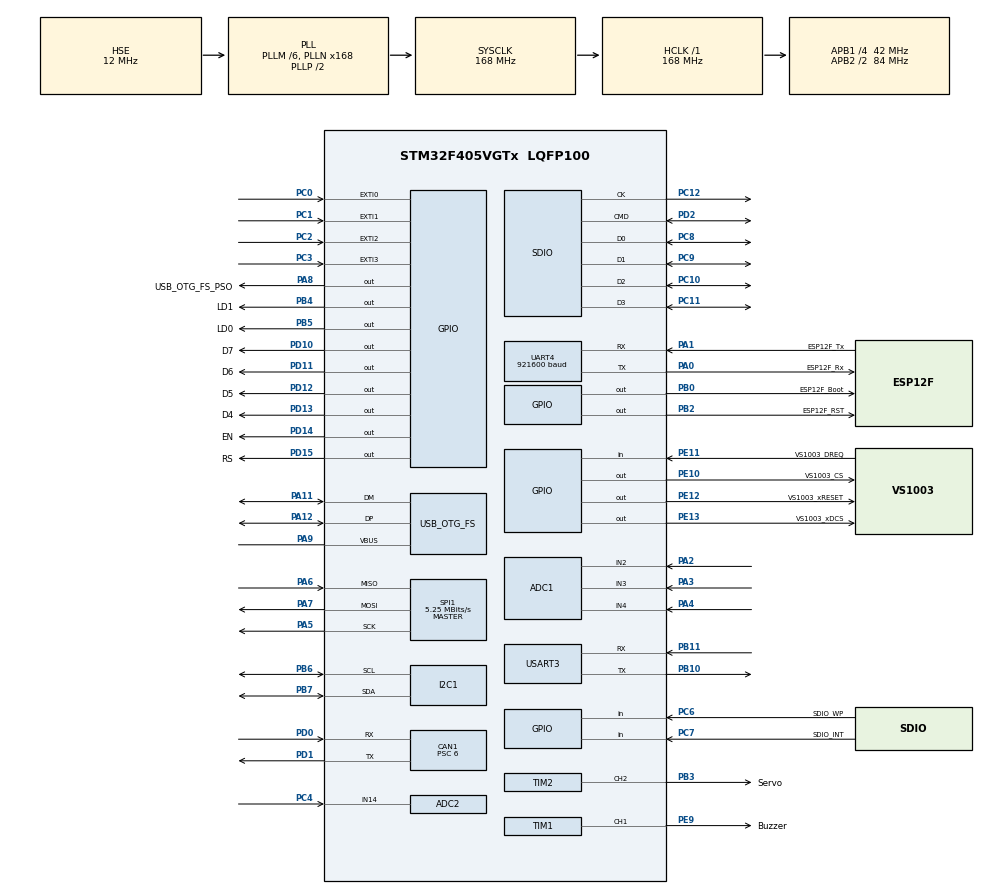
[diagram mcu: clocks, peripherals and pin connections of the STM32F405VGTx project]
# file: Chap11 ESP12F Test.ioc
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ADC1.Channel-0\#ChannelRegularConversion=ADC_CHANNEL_2
ADC1.Channel-1\#ChannelRegularConversion=ADC_CHANNEL_3
ADC1.Channel-2\#ChannelRegularConversion=ADC_CHANNEL_4
ADC1.ClockPrescaler=ADC_CLOCK_SYNC_PCLK_DIV4
ADC1.ContinuousConvMode=ENABLE
ADC1.DMAContinuousRequests=ENABLE
ADC1.DiscontinuousConvMode=DISABLE
ADC1.EnableAnalogWatchDog=false
ADC1.InjNumberOfConversion=0
ADC1.NbrOfConversion=3
ADC1.NbrOfConversionFlag=1
ADC1.Rank-0\#ChannelRegularConversion=1
ADC1.Rank-1\#ChannelRegularConversion=2
ADC1.Rank-2\#ChannelRegularConversion=3
ADC1.SamplingTime-0\#ChannelRegularConversion=ADC_SAMPLETIME_84CYCLES
ADC1.SamplingTime-1\#ChannelRegularConversion=ADC_SAMPLETIME_84CYCLES
ADC1.SamplingTime-2\#ChannelRegularConversion=ADC_SAMPLETIME_84CYCLES
ADC1.ScanConvMode=ENABLE
ADC1.master=1
ADC2.Channel-1\#ChannelRegularConversion=ADC_CHANNEL_14
ADC2.ClockPrescaler=ADC_CLOCK_SYNC_PCLK_DIV4
ADC2.ContinuousConvMode=ENABLE
ADC2.DMAContinuousRequests=ENABLE
ADC2.NbrOfConversionFlag=1
ADC2.Rank-1\#ChannelRegularConversion=1
ADC2.SamplingTime-1\#ChannelRegularConversion=ADC_SAMPLETIME_84CYCLES
ADC2.ScanConvMode=DISABLE
CAN1.BS1=CAN_BS1_11TQ
CAN1.BS2=CAN_BS2_2TQ
CAN1.CalculateBaudRate=500000
CAN1.CalculateTimeBit=2000
CAN1.CalculateTimeQuantum=142.85714285714286
CAN1.Prescaler=6
CAN1.SJW=CAN_SJW_1TQ
Dma.ADC1.0.Direction=DMA_PERIPH_TO_MEMORY
Dma.ADC1.0.FIFOMode=DMA_FIFOMODE_DISABLE
Dma.ADC1.0.Instance=DMA2_Stream0
Dma.ADC1.0.MemDataAlignment=DMA_MDATAALIGN_HALFWORD
Dma.ADC1.0.MemInc=DMA_MINC_ENABLE
Dma.ADC1.0.Mode=DMA_CIRCULAR
Dma.ADC1.0.PeriphDataAlignment=DMA_PDATAALIGN_HALFWORD
Dma.ADC1.0.PeriphInc=DMA_PINC_DISABLE
Dma.ADC1.0.Priority=DMA_PRIORITY_LOW
Dma.ADC2.1.Direction=DMA_PERIPH_TO_MEMORY
Dma.ADC2.1.FIFOMode=DMA_FIFOMODE_DISABLE
Dma.ADC2.1.Instance=DMA2_Stream2
Dma.ADC2.1.MemDataAlignment=DMA_MDATAALIGN_HALFWORD
Dma.ADC2.1.MemInc=DMA_MINC_DISABLE
Dma.ADC2.1.Mode=DMA_CIRCULAR
Dma.ADC2.1.PeriphDataAlignment=DMA_PDATAALIGN_HALFWORD
Dma.ADC2.1.PeriphInc=DMA_PINC_DISABLE
Dma.ADC2.1.Priority=DMA_PRIORITY_LOW
Dma.Request0=ADC1
Dma.Request1=ADC2
Dma.Request2=SDIO_RX
Dma.Request3=SDIO_TX
Dma.Request4=UART4_RX
Dma.Request5=UART4_TX
Dma.SDIO_RX.2.Direction=DMA_PERIPH_TO_MEMORY
Dma.SDIO_RX.2.FIFOMode=DMA_FIFOMODE_ENABLE
Dma.SDIO_RX.2.FIFOThreshold=DMA_FIFO_THRESHOLD_FULL
Dma.SDIO_RX.2.Instance=DMA2_Stream3
Dma.SDIO_RX.2.MemBurst=DMA_MBURST_INC4
Dma.SDIO_RX.2.MemDataAlignment=DMA_MDATAALIGN_WORD
Dma.SDIO_RX.2.MemInc=DMA_MINC_ENABLE
Dma.SDIO_RX.2.Mode=DMA_PFCTRL
Dma.SDIO_RX.2.PeriphBurst=DMA_PBURST_INC4
Dma.SDIO_RX.2.PeriphDataAlignment=DMA_PDATAALIGN_WORD
Dma.SDIO_RX.2.PeriphInc=DMA_PINC_DISABLE
Dma.SDIO_RX.2.Priority=DMA_PRIORITY_LOW
Dma.SDIO_TX.3.Direction=DMA_MEMORY_TO_PERIPH
Dma.SDIO_TX.3.FIFOMode=DMA_FIFOMODE_ENABLE
Dma.SDIO_TX.3.FIFOThreshold=DMA_FIFO_THRESHOLD_FULL
Dma.SDIO_TX.3.Instance=DMA2_Stream6
Dma.SDIO_TX.3.MemBurst=DMA_MBURST_INC4
Dma.SDIO_TX.3.MemDataAlignment=DMA_MDATAALIGN_WORD
Dma.SDIO_TX.3.MemInc=DMA_MINC_ENABLE
Dma.SDIO_TX.3.Mode=DMA_PFCTRL
Dma.SDIO_TX.3.PeriphBurst=DMA_PBURST_INC4
Dma.SDIO_TX.3.PeriphDataAlignment=DMA_PDATAALIGN_WORD
Dma.SDIO_TX.3.PeriphInc=DMA_PINC_DISABLE
Dma.SDIO_TX.3.Priority=DMA_PRIORITY_LOW
Dma.UART4_RX.4.Direction=DMA_PERIPH_TO_MEMORY
Dma.UART4_RX.4.FIFOMode=DMA_FIFOMODE_DISABLE
Dma.UART4_RX.4.Instance=DMA1_Stream2
Dma.UART4_RX.4.MemDataAlignment=DMA_MDATAALIGN_BYTE
Dma.UART4_RX.4.MemInc=DMA_MINC_ENABLE
Dma.UART4_RX.4.Mode=DMA_NORMAL
Dma.UART4_RX.4.PeriphDataAlignment=DMA_PDATAALIGN_BYTE
Dma.UART4_RX.4.PeriphInc=DMA_PINC_DISABLE
Dma.UART4_RX.4.Priority=DMA_PRIORITY_HIGH
Dma.UART4_TX.5.Direction=DMA_MEMORY_TO_PERIPH
Dma.UART4_TX.5.FIFOMode=DMA_FIFOMODE_DISABLE
Dma.UART4_TX.5.Instance=DMA1_Stream4
Dma.UART4_TX.5.MemDataAlignment=DMA_MDATAALIGN_BYTE
Dma.UART4_TX.5.MemInc=DMA_MINC_ENABLE
Dma.UART4_TX.5.Mode=DMA_NORMAL
Dma.UART4_TX.5.PeriphDataAlignment=DMA_PDATAALIGN_BYTE
Dma.UART4_TX.5.PeriphInc=DMA_PINC_DISABLE
Dma.UART4_TX.5.Priority=DMA_PRIORITY_LOW
FATFS.USE_DMA_CODE_SD=1
FATFS._MAX_SS=4096
FATFS._USE_LFN=1
I2C1.I2C_Mode=I2C_Fast
Mcu.Family=STM32F4
Mcu.Name=STM32F405VGTx
Mcu.Package=LQFP100
NVIC.CAN1_RX0_IRQn=true\:0\:0\:false\:true\:true\:8\:true\:true\:true
NVIC.DMA1_Stream2_IRQn=true\:0\:0\:false\:false\:true\:false\:true\:true
NVIC.DMA1_Stream4_IRQn=true\:0\:0\:false\:false\:true\:false\:true\:true
NVIC.DMA2_Stream0_IRQn=true\:0\:0\:false\:false\:true\:false\:true\:true
NVIC.DMA2_Stream2_IRQn=true\:0\:0\:false\:false\:true\:false\:true\:true
NVIC.DMA2_Stream3_IRQn=true\:0\:0\:false\:false\:true\:false\:true\:true
NVIC.DMA2_Stream6_IRQn=true\:0\:0\:false\:false\:true\:false\:true\:true
NVIC.EXTI0_IRQn=true\:0\:0\:false\:true\:true\:1\:true\:true\:true
NVIC.EXTI1_IRQn=true\:0\:0\:false\:true\:true\:2\:true\:true\:true
NVIC.EXTI2_IRQn=true\:0\:0\:false\:true\:true\:3\:true\:true\:true
NVIC.EXTI3_IRQn=true\:0\:0\:false\:true\:true\:7\:true\:true\:true
NVIC.OTG_FS_IRQn=true\:0\:0\:false\:false\:true\:false\:true\:true
NVIC.PriorityGroup=NVIC_PRIORITYGROUP_4
NVIC.SDIO_IRQn=true\:0\:0\:false\:false\:true\:true\:true\:true
NVIC.TIM6_DAC_IRQn=true\:0\:0\:false\:true\:true\:5\:true\:true\:true
NVIC.TIM7_IRQn=true\:0\:0\:false\:true\:true\:6\:true\:true\:true
NVIC.UART4_IRQn=true\:0\:0\:false\:false\:true\:true\:true\:true
NVIC.USART3_IRQn=true\:0\:0\:false\:true\:true\:4\:true\:true\:true
PA0-WKUP.GPIO_Label=ESP12F_Rx
PA0-WKUP.Mode=Asynchronous
PA0-WKUP.Signal=UART4_TX
PA1.GPIO_Label=ESP12F_Tx
PA1.Mode=Asynchronous
PA1.Signal=UART4_RX
PA11.Mode=Host_Only
PA11.Signal=USB_OTG_FS_DM
PA12.Mode=Host_Only
PA12.Signal=USB_OTG_FS_DP
PA2.Signal=ADCx_IN2
PA3.Signal=ADCx_IN3
PA4.Signal=ADCx_IN4
PA5.Mode=Full_Duplex_Master
PA5.Signal=SPI1_SCK
PA6.Mode=Full_Duplex_Master
PA6.Signal=SPI1_MISO
PA7.Mode=Full_Duplex_Master
PA7.Signal=SPI1_MOSI
PA8.GPIO_Label=USB_OTG_FS_PSO
PA8.Signal=GPIO_Output
PA9.Mode=Activate_VBUS
PA9.Signal=USB_OTG_FS_VBUS
PB0.GPIO_Label=ESP12F_Boot
PB0.Signal=GPIO_Output
PB10.Mode=Asynchronous
PB10.Signal=USART3_TX
PB11.Mode=Asynchronous
PB11.Signal=USART3_RX
PB2.GPIO_Label=ESP12F_RST
PB2.Signal=GPIO_Output
PB3.GPIO_Label=Servo
PB3.Signal=S_TIM2_CH2
PB4.GPIO_Label=LD1
PB4.Signal=GPIO_Output
PB5.GPIO_Label=LD0
PB5.Signal=GPIO_Output
PB6.Mode=I2C
PB6.Signal=I2C1_SCL
PB7.Mode=I2C
PB7.Signal=I2C1_SDA
PC0.GPIO_ModeDefaultEXTI=GPIO_MODE_IT_FALLING
PC0.Signal=GPXTI0
PC1.GPIO_ModeDefaultEXTI=GPIO_MODE_IT_FALLING
PC1.Signal=GPXTI1
PC10.Mode=SD_4_bits_Wide_bus
PC10.Signal=SDIO_D2
PC11.Mode=SD_4_bits_Wide_bus
PC11.Signal=SDIO_D3
PC12.Mode=SD_4_bits_Wide_bus
PC12.Signal=SDIO_CK
PC2.GPIO_ModeDefaultEXTI=GPIO_MODE_IT_FALLING
PC2.Signal=GPXTI2
PC3.Signal=GPXTI3
PC4.Signal=ADCx_IN14
PC6.GPIO_Label=SDIO_WP
PC6.Signal=GPIO_Input
PC7.GPIO_Label=SDIO_INT
PC7.Signal=GPIO_Input
PC8.Mode=SD_4_bits_Wide_bus
PC8.Signal=SDIO_D0
PC9.Mode=SD_4_bits_Wide_bus
PC9.Signal=SDIO_D1
PD0.Mode=CAN_Activate
PD0.Signal=CAN1_RX
PD1.Mode=CAN_Activate
PD1.Signal=CAN1_TX
PD10.GPIO_Label=D7
PD10.Signal=GPIO_Output
PD11.GPIO_Label=D6
PD11.Signal=GPIO_Output
PD12.GPIO_Label=D5
PD12.Signal=GPIO_Output
PD13.GPIO_Label=D4
PD13.Signal=GPIO_Output
PD14.GPIO_Label=EN
PD14.Signal=GPIO_Output
PD15.GPIO_Label=RS
PD15.Signal=GPIO_Output
PD2.Mode=SD_4_bits_Wide_bus
PD2.Signal=SDIO_CMD
PE10.GPIO_Label=VS1003_CS
PE10.Signal=GPIO_Output
PE11.GPIO_Label=VS1003_DREQ
PE11.Signal=GPIO_Input
PE12.GPIO_Label=VS1003_xRESET
PE12.Signal=GPIO_Output
PE13.GPIO_Label=VS1003_xDCS
PE13.Signal=GPIO_Output
PE9.GPIO_Label=Buzzer
PE9.Signal=S_TIM1_CH1
PH0-OSC_IN.Mode=HSE-External-Oscillator
PH0-OSC_IN.Signal=RCC_OSC_IN
PH1-OSC_OUT.Mode=HSE-External-Oscillator
PH1-OSC_OUT.Signal=RCC_OSC_OUT
ProjectManager.HeapSize=0x200
ProjectManager.StackSize=0x400
ProjectManager.TargetToolchain=STM32CubeIDE
RCC.48MHZClocksFreq_Value=48000000
RCC.AHBFreq_Value=168000000
RCC.APB1CLKDivider=RCC_HCLK_DIV4
RCC.APB1Freq_Value=42000000
RCC.APB1TimFreq_Value=84000000
RCC.APB2CLKDivider=RCC_HCLK_DIV2
RCC.APB2Freq_Value=84000000
RCC.APB2TimFreq_Value=168000000
RCC.CortexFreq_Value=168000000
RCC.HCLKFreq_Value=168000000
RCC.HSE_VALUE=12000000
RCC.HSI_VALUE=16000000
RCC.LSE_VALUE=32768
RCC.PLLM=6
RCC.PLLN=168
RCC.PLLQ=7
RCC.SYSCLKFreq_VALUE=168000000
RCC.SYSCLKSource=RCC_SYSCLKSOURCE_PLLCLK
RCC.VCOOutputFreq_Value=336000000
SH.ADCx_IN14.0=ADC2_IN14,IN14
SH.ADCx_IN2.0=ADC1_IN2,IN2
SH.ADCx_IN3.0=ADC1_IN3,IN3
SH.ADCx_IN4.0=ADC1_IN4,IN4
SH.S_TIM1_CH1.0=TIM1_CH1,PWM Generation1 CH1
SH.S_TIM2_CH2.0=TIM2_CH2,PWM Generation2 CH2
SPI1.BaudRatePrescaler=SPI_BAUDRATEPRESCALER_16
SPI1.CalculateBaudRate=5.25 MBits/s
SPI1.Direction=SPI_DIRECTION_2LINES
SPI1.Mode=SPI_MODE_MASTER
SPI1.VirtualType=VM_MASTER
TIM1.Channel-PWM\ Generation1\ CH1=TIM_CHANNEL_1
TIM1.Period=999
TIM1.Prescaler=167
TIM1.Pulse-PWM\ Generation1\ CH1=500
TIM2.Channel-PWM\ Generation2\ CH2=TIM_CHANNEL_2
TIM2.Period=10000-1
TIM2.Prescaler=168-1
TIM2.Pulse-PWM\ Generation2\ CH2=100
TIM4.Prescaler=83
TIM6.AutoReloadPreload=TIM_AUTORELOAD_PRELOAD_DISABLE
TIM6.Period=10000-1
TIM6.Prescaler=8400-1
TIM7.Period=9999
TIM7.Prescaler=4200-1
UART4.BaudRate=921600
UART4.VirtualMode=Asynchronous
USART3.VirtualMode=VM_ASYNC
USB_HOST.USBH_HandleTypeDef-MSC_FS=hUsbHostFS
USB_HOST.VirtualModeFS=Msc
USB_OTG_FS.Sof_enable=DISABLE
USB_OTG_FS.VirtualMode=Host_Only
USB_OTG_FS.phy_itface=HCD_PHY_EMBEDDED
VP_FATFS_VS_SDIO.Mode=SDIO
VP_FATFS_VS_USB.Mode=USB
VP_TIM1_VS_ClockSourceINT.Mode=Internal
VP_TIM2_VS_ClockSourceINT.Mode=Internal
VP_TIM4_VS_ClockSourceINT.Mode=Internal
VP_TIM6_VS_ClockSourceINT.Mode=Enable_Timer
VP_TIM7_VS_ClockSourceINT.Mode=Enable_Timer
VP_USB_HOST_VS_USB_HOST_MSC_FS.Mode=MSC_FS
board=custom

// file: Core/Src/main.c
/* USER CODE BEGIN Header */
/**
  ******************************************************************************
  * @file           : main.c
  * @brief          : Main program body
  ******************************************************************************
  * @attention
  *
  * Copyright (c) 2025 STMicroelectronics.
  * All rights reserved.
  *
  * This software is licensed under terms that can be found in the LICENSE file
  * in the root directory of this software component.
  * If no LICENSE file comes with this software, it is provided AS-IS.
  *
  ******************************************************************************
  */
/* USER CODE END Header */
#include "main.h"
#include "adc.h"
#include "can.h"
#include "dma.h"
#include "fatfs.h"
#include "i2c.h"
#include "sdio.h"
#include "spi.h"
#include "tim.h"
#include "usart.h"
#include "usb_host.h"
#include "gpio.h"

/* USER CODE BEGIN Includes */
#include "stdio.h"
#include "string.h"
#include "CLCD.h"
#include "VS1003.h"
#include "AS6221.h"

#include "atc.h"
#include "esp8266.h"

/* USER CODE END Includes */

/* USER CODE BEGIN PD */
#define AS6221_ADDR1        (0x48 << 1)
#define AS6221_ADDR2        (0x49 << 1)

/* USER CODE END PD */

/* USER CODE BEGIN PM */
int _write(int file, char* p, int len){
	HAL_UART_Transmit(&huart3, p, len, 10);
	return len;
}

/* USER CODE END PM */

/* USER CODE BEGIN PV */
uint8_t rx_data = 0;
uint8_t lcd_flag = 0;

uint16_t adc1_val[3] = {0,};
uint16_t adc2_val = 0;

volatile uint8_t sw0_flag = 0;
volatile uint8_t sw1_flag = 0;
volatile uint8_t sw2_flag = 0;
volatile uint8_t sw3_flag = 0;

volatile uint8_t can1_rx0_flag = 0;

uint32_t bytesWritten, bytesRead;
extern ApplicationTypeDef Appli_state;

uint8_t NEXT = 0;

uint8_t str[21];

AS6221_t as6221[2];

ATC_HandleTypeDef hatc;
ESP_HandleTypeDef hesp;

/* USER CODE END PV */

void SystemClock_Config(void);
static void MX_NVIC_Init(void);
void MX_USB_HOST_Process(void);

/* USER CODE BEGIN 0 */
long map(long x, long in_min, long in_max, long out_min, long out_max) {
  return (x - in_min) * (out_max - out_min) / (in_max - in_min) + out_min;
}

/* USER CODE END 0 */

int main(void)
{

  /* MCU Configuration--------------------------------------------------------*/

  /* Reset of all peripherals, Initializes the Flash interface and the Systick. */
  HAL_Init();

  /* Configure the system clock */
  SystemClock_Config();

  /* Initialize all configured peripherals */
  MX_GPIO_Init();
  MX_DMA_Init();
  MX_USART3_UART_Init();
  MX_TIM4_Init();
  MX_ADC1_Init();
  MX_ADC2_Init();
  MX_TIM1_Init();
  MX_TIM6_Init();
  MX_TIM7_Init();
  MX_TIM2_Init();
  MX_FATFS_Init();
  MX_USB_HOST_Init();
  MX_SDIO_SD_Init();
  MX_SPI1_Init();
  MX_I2C1_Init();
  MX_CAN1_Init();
  MX_UART4_Init();

  /* Initialize interrupts */
  MX_NVIC_Init();
  /* USER CODE BEGIN 2 */
  HAL_TIM_Base_Start_IT(&htim6);
//  HAL_TIM_Base_Start_IT(&htim7);

  lcd_Init(20, 4);
  lcd_clear();

  HAL_GPIO_WritePin(ESP12F_Boot_GPIO_Port, ESP12F_Boot_Pin, GPIO_PIN_SET);
  HAL_GPIO_WritePin(ESP12F_RST_GPIO_Port, ESP12F_RST_Pin, GPIO_PIN_SET);

  if(ATC_Init(&hatc, &huart4, 2048, "ESP12F")) {
	  lcd_setCurStr(0, 0, "ATC Init Success");
  }
  else {
	  lcd_setCurStr(0, 0, "ATC Init Failed");
  }

//  char *response = NULL;
//
//  if(ATC_SendReceive(&hatc, "AT\r\n", 100, NULL, 1000, 1, "OK") == 1) {
//	  lcd_setCurStr(0, 1, "ESP12F is Ready");
//  }
//  else {
//	  lcd_setCurStr(0, 1, "ESP12F No Response");
//  }

  if(ESP_Init(&hesp, &hatc)) {
	  lcd_setCurStr(0, 1, "ESP Init Success");
  }
  else {
	  lcd_setCurStr(0, 1, "ESP Init Failed");
  }

  HAL_Delay(500);

  lcd_setCurStr(0, 2, "Connecting...");

  if(ESP_WiFi_Connect(&hesp, "ssid", "pw")) {
	  lcd_setCurStr(0, 2, "WiFi Connected!");

	  HAL_Delay(500);

	  if(ESP_Network_GetIP(&hesp)) {
		  lcd_setCurStr(0, 3, hesp.NetworkInfo.IP);
	  }
	  else {
		  lcd_setCurStr(0, 3, "ip get Failed");
	  }
  }
  else {
	  lcd_setCurStr(0, 2, "Connect Failed");
  }

  /* USER CODE END 2 */

  /* Infinite loop */
  while (1)
  {
    MX_USB_HOST_Process();

    /* USER CODE BEGIN 3 */
    ATC_Loop(&hatc);
  }
  /* USER CODE END 3 */
}

void SystemClock_Config(void)
{
  RCC_OscInitTypeDef RCC_OscInitStruct = {0};
  RCC_ClkInitTypeDef RCC_ClkInitStruct = {0};

  /** Configure the main internal regulator output voltage
  */
  __HAL_RCC_PWR_CLK_ENABLE();
  __HAL_PWR_VOLTAGESCALING_CONFIG(PWR_REGULATOR_VOLTAGE_SCALE1);

  /** Initializes the RCC Oscillators according to the specified parameters
  * in the RCC_OscInitTypeDef structure.
  */
  RCC_OscInitStruct.OscillatorType = RCC_OSCILLATORTYPE_HSE;
  RCC_OscInitStruct.HSEState = RCC_HSE_ON;
  RCC_OscInitStruct.PLL.PLLState = RCC_PLL_ON;
  RCC_OscInitStruct.PLL.PLLSource = RCC_PLLSOURCE_HSE;
  RCC_OscInitStruct.PLL.PLLM = 6;
  RCC_OscInitStruct.PLL.PLLN = 168;
  RCC_OscInitStruct.PLL.PLLP = RCC_PLLP_DIV2;
  RCC_OscInitStruct.PLL.PLLQ = 7;
  if (HAL_RCC_OscConfig(&RCC_OscInitStruct) != HAL_OK)
  {
    Error_Handler();
  }

  /** Initializes the CPU, AHB and APB buses clocks
  */
  RCC_ClkInitStruct.ClockType = RCC_CLOCKTYPE_HCLK|RCC_CLOCKTYPE_SYSCLK
                              |RCC_CLOCKTYPE_PCLK1|RCC_CLOCKTYPE_PCLK2;
  RCC_ClkInitStruct.SYSCLKSource = RCC_SYSCLKSOURCE_PLLCLK;
  RCC_ClkInitStruct.AHBCLKDivider = RCC_SYSCLK_DIV1;
  RCC_ClkInitStruct.APB1CLKDivider = RCC_HCLK_DIV4;
  RCC_ClkInitStruct.APB2CLKDivider = RCC_HCLK_DIV2;

  if (HAL_RCC_ClockConfig(&RCC_ClkInitStruct, FLASH_LATENCY_5) != HAL_OK)
  {
    Error_Handler();
  }
}

/**
  * @brief NVIC Configuration.
  * @retval None
  */
static void MX_NVIC_Init(void)
{
  /* EXTI0_IRQn interrupt configuration */
  HAL_NVIC_SetPriority(EXTI0_IRQn, 0, 0);
  HAL_NVIC_EnableIRQ(EXTI0_IRQn);
  /* EXTI1_IRQn interrupt configuration */
  HAL_NVIC_SetPriority(EXTI1_IRQn, 0, 0);
  HAL_NVIC_EnableIRQ(EXTI1_IRQn);
  /* EXTI2_IRQn interrupt configuration */
  HAL_NVIC_SetPriority(EXTI2_IRQn, 0, 0);
  HAL_NVIC_EnableIRQ(EXTI2_IRQn);
  /* USART3_IRQn interrupt configuration */
  HAL_NVIC_SetPriority(USART3_IRQn, 0, 0);
  HAL_NVIC_EnableIRQ(USART3_IRQn);
  /* TIM6_DAC_IRQn interrupt configuration */
  HAL_NVIC_SetPriority(TIM6_DAC_IRQn, 0, 0);
  HAL_NVIC_EnableIRQ(TIM6_DAC_IRQn);
  /* TIM7_IRQn interrupt configuration */
  HAL_NVIC_SetPriority(TIM7_IRQn, 0, 0);
  HAL_NVIC_EnableIRQ(TIM7_IRQn);
  /* EXTI3_IRQn interrupt configuration */
  HAL_NVIC_SetPriority(EXTI3_IRQn, 0, 0);
  HAL_NVIC_EnableIRQ(EXTI3_IRQn);
  /* CAN1_RX0_IRQn interrupt configuration */
  HAL_NVIC_SetPriority(CAN1_RX0_IRQn, 0, 0);
  HAL_NVIC_EnableIRQ(CAN1_RX0_IRQn);
}

/* USER CODE BEGIN 4 */
void HAL_GPIO_EXTI_Callback(uint16_t GPIO_Pin)
{
	if(GPIO_Pin == GPIO_PIN_0) {
		HAL_GPIO_TogglePin(LD0_GPIO_Port, LD0_Pin);
		sw0_flag = 1;
	}
	else if(GPIO_Pin == GPIO_PIN_1) {
		sw1_flag = 1;
		HAL_GPIO_TogglePin(LD0_GPIO_Port, LD0_Pin);

	}
	else if(GPIO_Pin == GPIO_PIN_2) {
		sw2_flag = 1;
		HAL_GPIO_TogglePin(LD0_GPIO_Port, LD0_Pin);
	}
	else if(GPIO_Pin == GPIO_PIN_3) {
		sw3_flag = 1;
		HAL_GPIO_TogglePin(LD0_GPIO_Port, LD0_Pin);
	}
}

void HAL_UART_RxCpltCallback(UART_HandleTypeDef *huart)
{
	if(huart->Instance == USART3) {
		HAL_UART_Receive_IT(&huart3, &rx_data, 1);
		HAL_UART_Transmit(&huart3, &rx_data, 1, 1000);
	}
}

void HAL_TIM_PeriodElapsedCallback(TIM_HandleTypeDef *htim)
{
	if(htim -> Instance == TIM6) {
		lcd_flag = 1;
	}
	if(htim -> Instance == TIM7) {

	}
}

void HAL_CAN_RxFifo0MsgPendingCallback(CAN_HandleTypeDef *hcan)
{
	if(hcan->Instance == CAN1)
	{
		HAL_CAN_GetRxMessage(&hcan1, CAN_RX_FIFO0, &canRxHeader, &can1Rx0Data[0]);
		can1_rx0_flag = 1;
	}
}

void HAL_UARTEx_RxEventCallback(UART_HandleTypeDef *huart, uint16_t Size)
{
    if (huart == &huart4)
    {
        ATC_IdleLineCallback(&hatc, Size);
    }
}

/* USER CODE END 4 */

void Error_Handler(void)
{
  /* USER CODE BEGIN Error_Handler_Debug */
  /* User can add his own implementation to report the HAL error return state */
  __disable_irq();
  while (1)
  {
	  HAL_GPIO_TogglePin(LD1_GPIO_Port, LD1_Pin);
	  HAL_Delay(1000);
  }
  /* USER CODE END Error_Handler_Debug */
}
